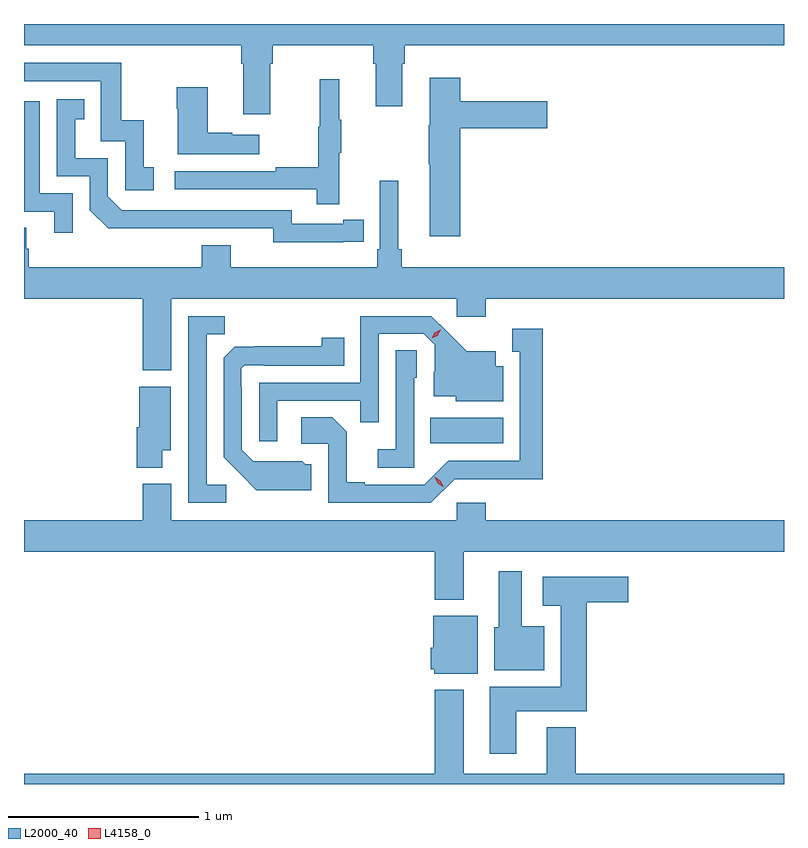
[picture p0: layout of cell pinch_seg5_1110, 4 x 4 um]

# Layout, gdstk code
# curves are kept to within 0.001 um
import gdstk
lib = gdstk.Library(unit=1e-6, precision=1e-09)
def R(c, l, rs):  # rectangles x0, y0, x1, y1
    for r in rs: c.add(gdstk.rectangle(r[:2], r[2:], *l))
def P(c, l, *ps):  # polygons
    for p in ps: c.add(gdstk.Polygon(p, *l))
L2000_40 = (2000, 40)
L4158_0 = (4158, 0)

pinch_seg5_1110 = lib.new_cell('pinch_seg5_1110')
R(pinch_seg5_1110, L2000_40, [(779.836,841.346,780.22,841.48)])
P(pinch_seg5_1110, L2000_40, [(778.993,843.344),(779.006,843.344),(779.006,843.44),(779.537,843.44),(779.537,843.344),(779.549,843.344),(779.549,843.12),(779.689,843.12),(779.689,843.344),(779.702,843.344),(779.702,843.44),(781.698,843.44),(781.698,843.553),(777.698,843.553),(777.698,843.44),(778.841,843.44),(778.841,843.344),(778.853,843.344),(778.853,843.078),(778.993,843.078)],
  [(778.381,842.799),(778.328,842.799),(778.328,843.046),(778.21,843.046),(778.21,843.348),(777.698,843.348),(777.698,843.252),(778.101,843.252),(778.101,842.937),(778.23,842.937),(778.23,842.679),(778.381,842.679)],
  [(779.993,843.005),(780.451,843.005),(780.451,843.147),(779.993,843.147),(779.993,843.271),(779.834,843.271),(779.834,843.021),(779.827,843.021),(779.827,842.815),(779.834,842.815),(779.834,842.436),(779.993,842.436)],
  [(779.357,842.875),(779.368,842.875),(779.368,843.049),(779.357,843.049),(779.357,843.262),(779.254,843.262),(779.254,843.012),(779.247,843.012),(779.247,842.798),(779.023,842.798),(779.023,842.778),(778.491,842.778),(778.491,842.682),(779.239,842.682),(779.239,842.604),(779.357,842.604)],
  [(778.936,842.971),(778.793,842.971),(778.793,842.981),(778.666,842.981),(778.666,843.22),(778.501,843.22),(778.501,843.107),(778.508,843.107),(778.508,842.867),(778.936,842.867)],
  [(779.378,842.406),(779.486,842.406),(779.486,842.522),(779.378,842.522),(779.378,842.502),(779.106,842.502),(779.106,842.574),(778.212,842.574),(778.14,842.646),(778.14,842.847),(777.967,842.847),(777.967,843.051),(778.016,843.051),(778.016,843.157),(777.87,843.157),(777.87,842.751),(778.044,842.751),(778.044,842.574),(778.142,842.477),(779.01,842.478),(779.01,842.405)],
  [(777.954,842.661),(777.78,842.661),(777.78,843.147),(777.698,843.147),(777.698,842.565),(777.857,842.565),(777.857,842.454),(777.954,842.454)],
  [(778.474,842.108),(779.976,842.108),(779.976,842.013),(780.128,842.013),(780.128,842.108),(781.698,842.108),(781.698,842.272),(779.687,842.272),(779.687,842.368),(779.668,842.368),(779.668,842.728),(779.571,842.728),(779.571,842.368),(779.558,842.368),(779.558,842.272),(778.786,842.272),(778.786,842.389),(778.634,842.389),(778.634,842.272),(777.722,842.272),(777.722,842.37),(777.709,842.37),(777.709,842.48),(777.698,842.48),(777.698,842.108),(778.322,842.108),(778.322,841.73),(778.474,841.73)],
  [(779.031,841.569),(779.467,841.569),(779.467,841.456),(779.565,841.456),(779.565,841.923),(779.802,841.923),(779.859,841.866),(779.859,841.724),(779.855,841.724),(779.855,841.595),(779.97,841.595),(779.97,841.568),(780.22,841.568),(780.22,841.753),(780.181,841.753),(780.181,841.831),(780.029,841.831),(779.842,842.016),(779.469,842.016),(779.469,841.665),(778.935,841.665),(778.935,841.356),(779.031,841.356)],
  [(778.762,841.128),(778.659,841.128),(778.659,841.921),(778.755,841.921),(778.755,842.016),(778.563,842.016),(778.563,841.032),(778.762,841.032)],
  [(779.964,841.158),(780.427,841.157),(780.427,841.948),(780.269,841.948),(780.269,841.827),(780.308,841.827),(780.308,841.254),(779.931,841.254),(779.805,841.128),(779.491,841.128),(779.491,841.141),(779.397,841.141),(779.397,841.408),(779.321,841.484),(779.157,841.484),(779.157,841.344),(779.298,841.344),(779.298,841.032),(779.838,841.032)],
  [(779.209,841.236),(779.178,841.236),(779.162,841.252),(778.905,841.251),(778.845,841.311),(778.845,841.64),(778.842,841.64),(778.842,841.74),(778.86,841.758),(778.96,841.758),(778.96,841.755),(779.384,841.755),(779.384,841.903),(779.266,841.903),(779.266,841.856),(778.808,841.855),(778.749,841.796),(778.749,841.274),(778.921,841.1),(779.209,841.1)],
  [(779.751,841.692),(779.766,841.692),(779.766,841.835),(779.655,841.835),(779.655,841.315),(779.559,841.315),(779.559,841.218),(779.751,841.218)],
  [(778.426,841.31),(778.471,841.31),(778.471,841.645),(778.304,841.645),(778.304,841.431),(778.292,841.431),(778.292,841.217),(778.426,841.217)],
  [(780.013,840.776),(781.698,840.776),(781.698,840.94),(780.128,840.94),(780.128,841.033),(779.976,841.033),(779.976,840.94),(778.474,840.94),(778.474,841.132),(778.322,841.132),(778.322,840.94),(777.698,840.94),(777.698,840.776),(779.861,840.776),(779.861,840.524),(780.013,840.524)],
  [(780.436,840.382),(780.319,840.382),(780.319,840.673),(780.197,840.673),(780.197,840.378),(780.173,840.378),(780.173,840.152),(780.436,840.152)],
  [(780.289,839.936),(780.659,839.936),(780.659,840.509),(780.877,840.509),(780.877,840.643),(780.429,840.643),(780.429,840.491),(780.524,840.491),(780.524,840.064),(780.149,840.064),(780.149,839.712),(780.289,839.712)],
  [(780.085,840.439),(779.852,840.439),(779.852,840.27),(779.84,840.27),(779.84,840.156),(779.856,840.156),(779.856,840.134),(780.085,840.134)],
  [(781.698,839.608),(780.602,839.608),(780.602,839.851),(780.449,839.851),(780.449,839.608),(780.013,839.608),(780.013,840.049),(779.861,840.049),(779.861,839.608),(777.698,839.608),(777.698,839.553),(781.698,839.553)])
P(pinch_seg5_1110, L4158_0, [(779.907,841.116),(779.876,841.136),(779.859,841.168),(779.859,841.169),(779.859,841.169),(779.89,841.149),(779.907,841.116),(779.907,841.116)],
  [(779.843,841.898),(779.843,841.898),(779.86,841.928),(779.891,841.944),(779.891,841.944),(779.891,841.943),(779.874,841.913),(779.843,841.898)])

lib.write_gds('pinch_seg5_1110.gds')
